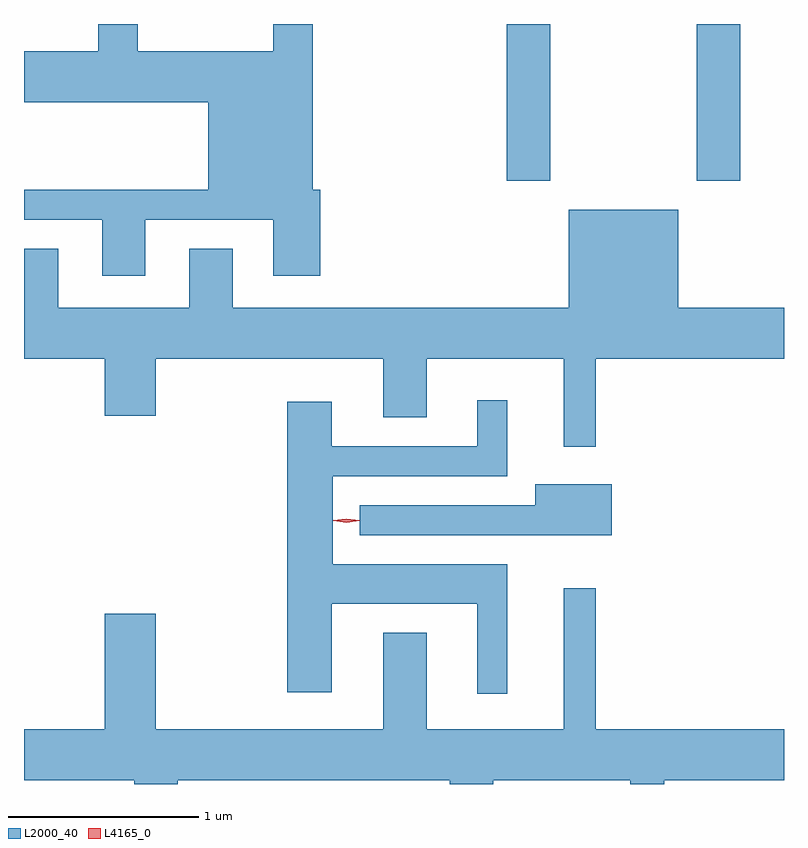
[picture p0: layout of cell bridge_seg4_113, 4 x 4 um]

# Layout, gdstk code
import gdstk
lib = gdstk.Library(unit=1e-6, precision=1e-09)
def R(c, l, rs):  # rectangles x0, y0, x1, y1
    for r in rs: c.add(gdstk.rectangle(r[:2], r[2:], *l))
def P(c, l, *ps):  # polygons
    for p in ps: c.add(gdstk.Polygon(p, *l))
L2000_40 = (2000, 40)
L4165_0 = (4165, 0)

bridge_seg4_113 = lib.new_cell('bridge_seg4_113')
R(bridge_seg4_113, L2000_40, [(916.491,1335.631,916.719,1336.457), (917.491,1335.631,917.719,1336.457)])
P(bridge_seg4_113, L2000_40, [(914.589,1335.426),(915.261,1335.426),(915.261,1335.131),(915.509,1335.131),(915.509,1335.584),(915.469,1335.584),(915.469,1336.457),(915.261,1336.457),(915.261,1336.314),(914.549,1336.314),(914.549,1336.457),(914.341,1336.457),(914.341,1336.314),(913.95,1336.314),(913.95,1336.046),(914.921,1336.046),(914.921,1335.584),(913.95,1335.584),(913.95,1335.426),(914.361,1335.426),(914.361,1335.131),(914.589,1335.131)],
  [(916.816,1334.964),(915.049,1334.964),(915.049,1335.274),(914.821,1335.274),(914.821,1334.964),(914.129,1334.964),(914.129,1335.274),(913.95,1335.274),(913.95,1334.696),(914.376,1334.696),(914.376,1334.396),(914.644,1334.396),(914.644,1334.696),(915.841,1334.696),(915.841,1334.386),(916.069,1334.386),(916.069,1334.696),(916.791,1334.696),(916.791,1334.233),(916.959,1334.233),(916.959,1334.696),(917.95,1334.696),(917.95,1334.964),(917.394,1334.964),(917.394,1335.479),(916.816,1335.479)],
  [(916.494,1333.614),(915.574,1333.614),(915.574,1334.076),(916.494,1334.076),(916.494,1334.478),(916.336,1334.478),(916.336,1334.234),(915.569,1334.234),(915.569,1334.469),(915.336,1334.469),(915.336,1332.941),(915.569,1332.941),(915.569,1333.406),(916.336,1333.406),(916.336,1332.933),(916.494,1332.933)],
  [(917.044,1334.034),(916.641,1334.034),(916.641,1333.924),(915.718,1333.924),(915.718,1333.766),(917.044,1333.766)],
  [(914.759,1332.476),(916.191,1332.476),(916.191,1332.457),(916.419,1332.457),(916.419,1332.476),(917.141,1332.476),(917.141,1332.457),(917.319,1332.457),(917.319,1332.476),(917.95,1332.476),(917.95,1332.744),(916.959,1332.744),(916.959,1333.488),(916.791,1333.488),(916.791,1332.744),(916.069,1332.744),(916.069,1333.254),(915.841,1333.254),(915.841,1332.744),(914.644,1332.744),(914.644,1333.354),(914.376,1333.354),(914.376,1332.744),(913.95,1332.744),(913.95,1332.476),(914.531,1332.476),(914.531,1332.457),(914.759,1332.457)])
P(bridge_seg4_113, L4165_0, [(915.647,1333.833),(915.578,1333.843),(915.577,1333.843),(915.578,1333.844),(915.647,1333.853),(915.716,1333.844),(915.716,1333.843),(915.716,1333.843)],
  [(915.646,1333.833),(915.58,1333.843),(915.58,1333.843),(915.58,1333.844),(915.646,1333.853),(915.712,1333.844),(915.713,1333.843),(915.712,1333.843)])

lib.write_gds('bridge_seg4_113.gds')
